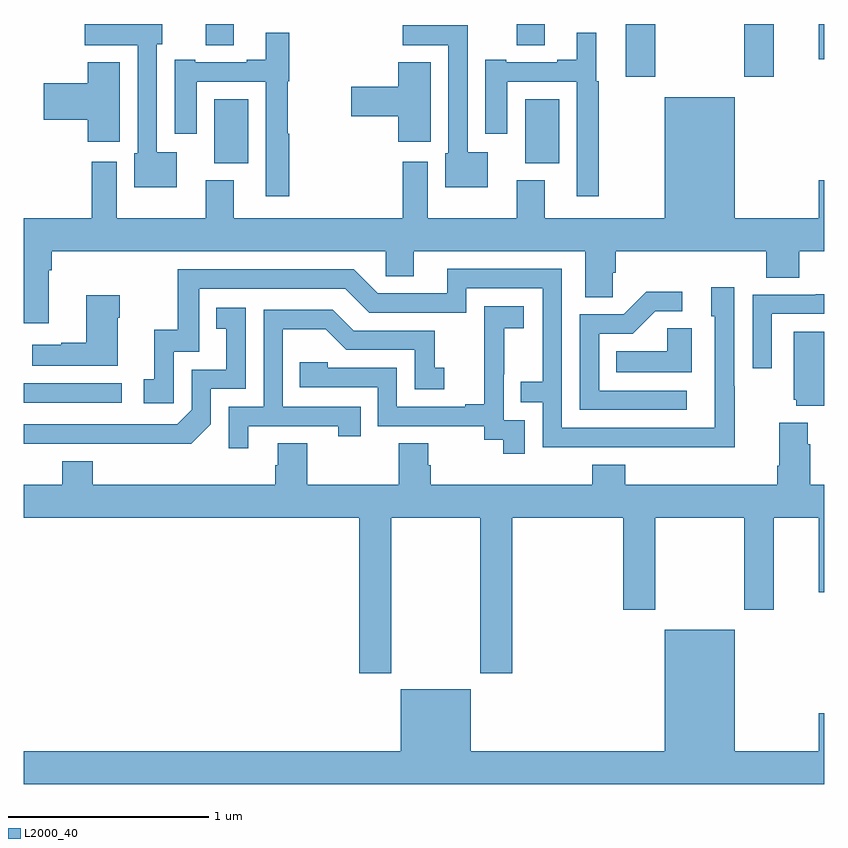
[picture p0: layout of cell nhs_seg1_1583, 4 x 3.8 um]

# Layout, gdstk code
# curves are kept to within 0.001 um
import gdstk
lib = gdstk.Library(unit=1e-6, precision=1e-09)
def R(c, l, rs):  # rectangles x0, y0, x1, y1
    for r in rs: c.add(gdstk.rectangle(r[:2], r[2:], *l))
def P(c, l, *ps):  # polygons
    for p in ps: c.add(gdstk.Polygon(p, *l))
L2000_40 = (2000, 40)

nhs_seg1_1583 = lib.new_cell('nhs_seg1_1583')
R(nhs_seg1_1583, L2000_40, [(197,552.306,197.488,552.402), (197.951,553.502,198.121,553.822), (199.505,553.502,199.675,553.822), (200.009,553.935,200.157,554.199), (200.602,553.935,200.749,554.199), (200.972,554.022,201,554.199), (197.909,554.092,198.049,554.199), (199.463,554.092,199.603,554.199)])
P(nhs_seg1_1583, L2000_40, [(197.764,553.558),(197.664,553.558),(197.664,554.097),(197.692,554.097),(197.692,554.199),(197.304,554.199),(197.304,554.093),(197.568,554.093),(197.568,553.554),(197.552,553.554),(197.552,553.382),(197.764,553.382)],
  [(199.318,553.558),(199.218,553.558),(199.218,554.192),(198.894,554.192),(198.894,554.094),(199.122,554.094),(199.122,553.554),(199.106,553.554),(199.106,553.382),(199.318,553.382)],
  [(199.873,553.914),(199.861,553.914),(199.861,554.155),(199.763,554.155),(199.763,554.02),(199.667,554.02),(199.667,554.007),(199.411,554.007),(199.411,554.02),(199.307,554.02),(199.307,553.65),(199.417,553.65),(199.417,553.911),(199.764,553.911),(199.764,553.338),(199.873,553.338)],
  [(198.326,553.65),(198.319,553.65),(198.319,553.914),(198.326,553.914),(198.326,554.155),(198.209,554.155),(198.209,554.02),(198.113,554.02),(198.113,554.007),(197.857,554.007),(197.857,554.02),(197.753,554.02),(197.753,553.65),(197.863,553.65),(197.863,553.911),(198.21,553.911),(198.21,553.338),(198.326,553.338)],
  [(199.033,554.009),(198.872,554.009),(198.872,553.886),(198.636,553.886),(198.636,553.739),(198.872,553.739),(198.872,553.611),(199.033,553.611)],
  [(197.479,554.008),(197.318,554.008),(197.318,553.904),(197.1,553.904),(197.1,553.721),(197.318,553.721),(197.318,553.611),(197.479,553.611)],
  [(197.125,552.968),(197.138,552.968),(197.138,553.064),(198.81,553.064),(198.81,552.937),(198.949,552.937),(198.949,553.064),(199.805,553.064),(199.805,552.832),(199.944,552.832),(199.944,552.955),(199.958,552.955),(199.958,553.064),(200.711,553.064),(200.711,552.931),(200.876,552.931),(200.876,553.064),(201,553.064),(201,553.417),(200.972,553.417),(200.972,553.228),(200.554,553.228),(200.554,553.834),(200.204,553.834),(200.204,553.228),(199.603,553.228),(199.603,553.417),(199.463,553.417),(199.463,553.228),(199.018,553.228),(199.018,553.51),(198.893,553.51),(198.893,553.228),(198.049,553.228),(198.049,553.417),(197.909,553.417),(197.909,553.228),(197.464,553.228),(197.464,553.51),(197.339,553.51),(197.339,553.228),(197,553.228),(197,552.702),(197.125,552.702)],
  [(200.553,552.389),(200.55,552.389),(200.55,552.883),(200.435,552.883),(200.435,552.738),(200.454,552.738),(200.454,552.18),(199.689,552.18),(199.689,552.975),(199.115,552.975),(199.115,552.852),(198.768,552.852),(198.648,552.972),(197.769,552.972),(197.769,552.67),(197.651,552.67),(197.651,552.423),(197.598,552.423),(197.598,552.303),(197.748,552.303),(197.748,552.561),(197.877,552.561),(197.877,552.876),(198.606,552.876),(198.726,552.756),(199.212,552.756),(199.212,552.879),(199.593,552.879),(199.593,552.41),(199.483,552.41),(199.483,552.309),(199.593,552.309),(199.593,552.084),(200.553,552.083)],
  [(200.314,552.366),(199.875,552.366),(199.875,552.651),(200.044,552.651),(200.155,552.762),(200.29,552.762),(200.29,552.86),(200.111,552.86),(199.998,552.747),(199.779,552.747),(199.779,552.27),(200.314,552.27)],
  [(200.739,552.75),(201,552.75),(201,552.848),(200.959,552.848),(200.959,552.846),(200.643,552.846),(200.643,552.477),(200.739,552.477)],
  [(197.47,552.731),(197.478,552.731),(197.478,552.844),(197.312,552.844),(197.312,552.605),(197.186,552.605),(197.186,552.595),(197.043,552.595),(197.043,552.491),(197.47,552.491)],
  [(199.503,552.219),(199.398,552.219),(199.398,552.449),(199.4,552.449),(199.4,552.677),(199.498,552.677),(199.498,552.787),(199.3,552.787),(199.3,552.581),(199.301,552.581),(199.301,552.298),(199.205,552.298),(199.205,552.285),(198.864,552.285),(198.864,552.48),(198.519,552.48),(198.519,552.507),(198.379,552.507),(198.379,552.384),(198.768,552.384),(198.768,552.189),(199.302,552.189),(199.302,552.121),(199.395,552.121),(199.395,552.051),(199.503,552.051)],
  [(197.934,552.198),(197.934,552.375),(198.108,552.375),(198.108,552.781),(197.962,552.781),(197.962,552.675),(198.011,552.675),(198.011,552.471),(197.838,552.471),(197.838,552.27),(197.766,552.198),(197,552.198),(197,552.102),(197.836,552.101)],
  [(198.121,552.189),(198.572,552.189),(198.572,552.138),(198.683,552.138),(198.683,552.285),(198.294,552.285),(198.294,552.674),(198.508,552.674),(198.612,552.57),(198.954,552.57),(198.954,552.372),(199.102,552.372),(199.102,552.481),(199.053,552.481),(199.053,552.666),(198.649,552.666),(198.544,552.771),(198.198,552.771),(198.198,552.285),(198.024,552.285),(198.024,552.078),(198.121,552.078)],
  [(200.338,552.677),(200.217,552.677),(200.217,552.562),(199.96,552.562),(199.96,552.458),(200.338,552.458)],
  [(201,552.661),(200.849,552.661),(200.849,552.321),(200.861,552.321),(200.861,552.29),(201,552.29)],
  [(198.837,551.732),(199.282,551.732),(199.282,550.953),(199.442,550.953),(199.442,551.732),(199.997,551.732),(199.997,551.271),(200.157,551.271),(200.157,551.732),(200.602,551.732),(200.602,551.271),(200.749,551.271),(200.749,551.732),(200.972,551.732),(200.972,551.358),(201,551.358),(201,551.896),(200.93,551.896),(200.93,552.098),(200.917,552.098),(200.917,552.205),(200.777,552.205),(200.777,551.992),(200.765,551.992),(200.765,551.896),(200.006,551.896),(200.006,551.995),(199.841,551.995),(199.841,551.896),(199.034,551.896),(199.034,551.994),(199.021,551.994),(199.021,552.104),(198.874,552.104),(198.874,551.896),(198.417,551.896),(198.417,552.104),(198.269,552.104),(198.269,551.994),(198.257,551.994),(198.257,551.896),(197.345,551.896),(197.345,552.013),(197.192,552.013),(197.192,551.896),(197,551.896),(197,551.732),(198.677,551.732),(198.677,550.953),(198.837,550.953)],
  [(201,550.753),(200.972,550.753),(200.972,550.564),(200.554,550.564),(200.554,551.17),(200.204,551.17),(200.204,550.564),(199.234,550.564),(199.234,550.873),(198.884,550.873),(198.884,550.564),(197,550.564),(197,550.4),(201,550.4)])

lib.write_gds('nhs_seg1_1583.gds')
